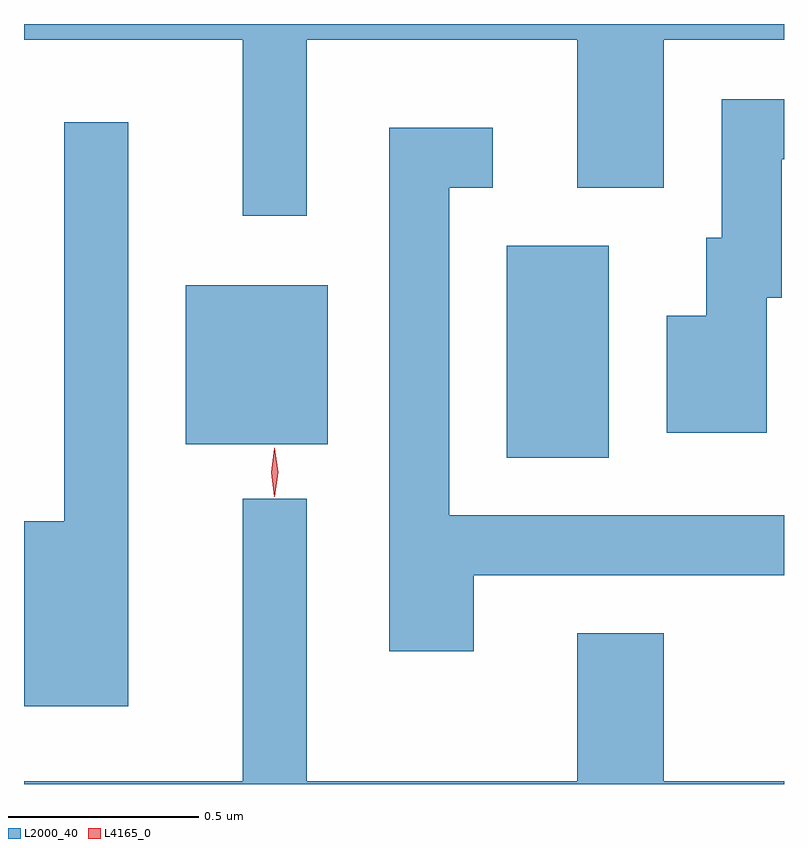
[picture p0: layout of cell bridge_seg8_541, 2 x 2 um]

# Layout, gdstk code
import gdstk
lib = gdstk.Library(unit=1e-6, precision=1e-09)
def R(c, l, rs):  # rectangles x0, y0, x1, y1
    for r in rs: c.add(gdstk.rectangle(r[:2], r[2:], *l))
def P(c, l, *ps):  # polygons
    for p in ps: c.add(gdstk.Polygon(p, *l))
L2000_40 = (2000, 40)
L4165_0 = (4165, 0)

bridge_seg8_541 = lib.new_cell('bridge_seg8_541')
R(bridge_seg8_541, L2000_40, [(217.446,1866.396,217.714,1866.954), (216.601,1866.431,216.974,1866.849)])
P(bridge_seg8_541, L2000_40, [(216.919,1867.496),(217.631,1867.496),(217.631,1867.106),(217.859,1867.106),(217.859,1867.496),(218.175,1867.496),(218.175,1867.537),(216.175,1867.537),(216.175,1867.496),(216.751,1867.496),(216.751,1867.033),(216.919,1867.033)],
  [(218.129,1866.816),(218.169,1866.816),(218.169,1867.181),(218.175,1867.181),(218.175,1867.339),(218.011,1867.339),(218.011,1866.974),(217.971,1866.974),(217.971,1866.769),(217.866,1866.769),(217.866,1866.461),(218.129,1866.461)],
  [(216.449,1867.278),(216.281,1867.278),(216.281,1866.229),(216.175,1866.229),(216.175,1865.741),(216.449,1865.741)],
  [(217.359,1866.086),(218.175,1866.086),(218.175,1866.244),(217.294,1866.244),(217.294,1867.106),(217.408,1867.106),(217.408,1867.264),(217.136,1867.264),(217.136,1865.886),(217.359,1865.886)],
  [(218.175,1865.544),(217.859,1865.544),(217.859,1865.934),(217.631,1865.934),(217.631,1865.544),(216.919,1865.544),(216.919,1866.288),(216.751,1866.288),(216.751,1865.544),(216.175,1865.544),(216.175,1865.537),(218.175,1865.537)])
P(bridge_seg8_541, L4165_0, [(216.834,1866.293),(216.825,1866.357),(216.834,1866.421),(216.834,1866.422),(216.835,1866.421),(216.844,1866.357),(216.835,1866.293),(216.835,1866.293)])

lib.write_gds('bridge_seg8_541.gds')
